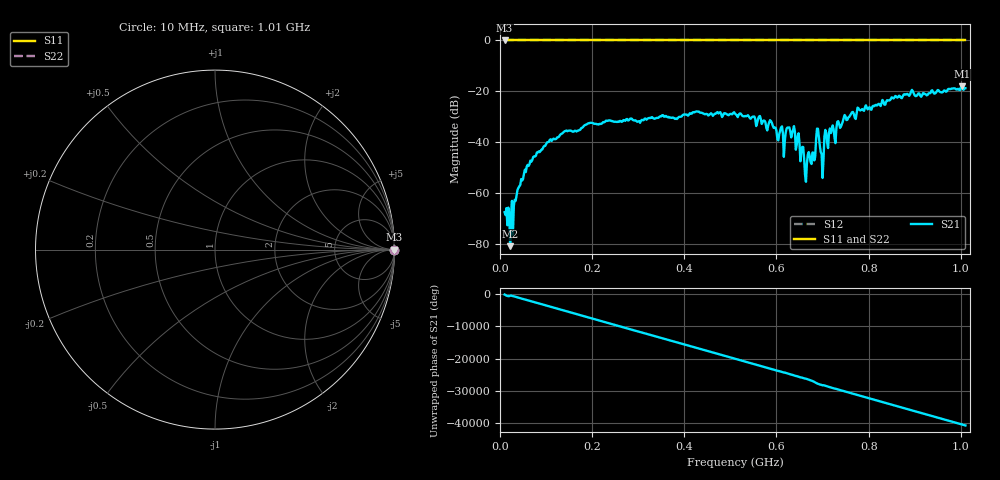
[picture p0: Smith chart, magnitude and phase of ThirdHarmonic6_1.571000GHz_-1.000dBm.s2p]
! 8/16/2025 6:41:06 PM
! C:\ANRITSUVNA\TEMP\TEMP.S2P
! CHANNEL.1
! TR.MEASUREMENT
! RAW.DATA
! RF.CORRECTION.OFF
! AVERAGING.OFF
! IF.BANDWIDTH: 5KHZ
! SWEEPTYPE:  FREQ.SWEEP(Linear)
! Reference Plane Port Info
! PORT:  PORT1  PORT2
! DISTANCE:  0  m  0  m
! TIME:  0  s  0  s
! PHASE.OFFSET:  0  deg.  0  deg.
! LOSS:  0  dB  0  dB
! REF.LOSS:  0  dB  0  dB
! REF.FREQ:  0  Hz  0  Hz
! Power Info
! POWER:  -20  dBm  -20  dBm
! EFF.POWER:  -20  dBm  -20  dBm
! SOURCE.ATTEN:  0  dB  0  dB
! TEST.ATTEN:  0  dB  0  dB
# GHZ S RI R 50.0
! FREQ.GHZ  S11RE  S11IM  S21RE  S21IM  S12RE  S12IM  S22RE  S22IM
!; PortSelection: Port_12
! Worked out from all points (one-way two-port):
!   501 points, 10 MHz to 1.01 GHz, reference 50 ohm
!   highest |S21| = -18.10 dB at 1.002 GHz (marker M1); lowest = -80.9 dB at 22 MHz (marker M2)
!   lowest |S11| = 0.0 dB at 10 MHz (marker M3)
!   |S11| at or under -10 dB: nowhere
!   |S22| runs from 0.0 to 0.0 dB; largest |S21 - S12| = 1.1
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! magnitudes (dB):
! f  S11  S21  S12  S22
! 10 MHz  0.0  -67.5  0.0  0.0
! 22 MHz  0.0  -80.9  0.0  0.0
! 26 MHz  0.0  -63.1  0.0  0.0
! 36 MHz  0.0  -60.8  0.0  0.0
! 56 MHz  0.0  -51.8  0.0  0.0
! 76 MHz  0.0  -45.6  0.0  0.0
! 140 MHz  0.0  -35.7  0.0  0.0
! 178 MHz  0.0  -34.3  0.0  0.0
! 344 MHz  0.0  -30.4  0.0  0.0
! 510 MHz  0.0  -28.8  0.0  0.0
! 588 MHz  0.0  -31.7  0.0  0.0
! 618 MHz  0.0  -39.7  0.0  0.0
! 626 MHz  0.0  -34.2  0.0  0.0
! 644 MHz  0.0  -40.9  0.0  0.0
! 664 MHz  0.0  -55.6  0.0  0.0
! 678 MHz  0.0  -44.1  0.0  0.0
! 690 MHz  0.0  -34.7  0.0  0.0
! 698 MHz  0.0  -44.7  0.0  0.0
! 718 MHz  0.0  -36.4  0.0  0.0
! 844 MHz  0.0  -23.6  0.0  0.0
! 1.002 GHz  0.0  -18.1  0.0  0.0
! 1.01 GHz  0.0  -18.8  0.0  0.0
